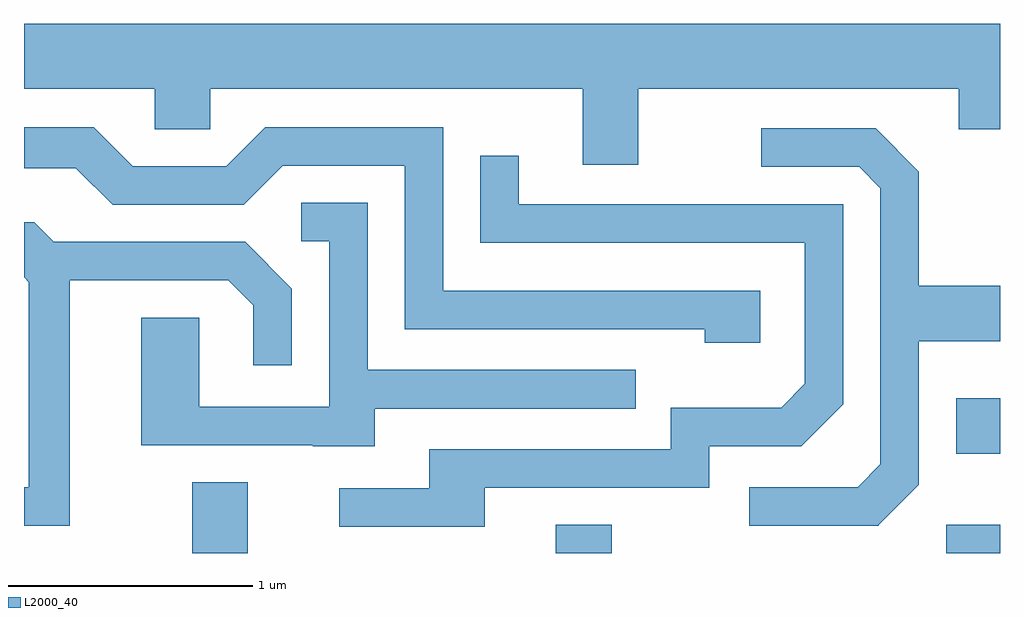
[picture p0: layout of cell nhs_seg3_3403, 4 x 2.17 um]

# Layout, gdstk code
import gdstk
lib = gdstk.Library(unit=1e-6, precision=1e-09)
def R(c, l, rs):  # rectangles x0, y0, x1, y1
    for r in rs: c.add(gdstk.rectangle(r[:2], r[2:], *l))
def P(c, l, *ps):  # polygons
    for p in ps: c.add(gdstk.Polygon(p, *l))
L2000_40 = (2000, 40)

nhs_seg3_3403 = lib.new_cell('nhs_seg3_3403')
R(nhs_seg3_3403, L2000_40, [(286.301,1121.892,286.529,1122.184), (287.791,1121.892,288.019,1122.009), (289.391,1121.892,289.611,1122.009), (289.431,1122.301,289.611,1122.529)])
P(nhs_seg3_3403, L2000_40, [(288.129,1123.796),(289.441,1123.796),(289.441,1123.631),(289.611,1123.631),(289.611,1124.064),(285.611,1124.064),(285.611,1123.796),(286.146,1123.796),(286.146,1123.631),(286.374,1123.631),(286.374,1123.796),(287.901,1123.796),(287.901,1123.486),(288.129,1123.486)],
  [(288.629,1122.969),(287.329,1122.969),(287.329,1123.639),(286.599,1123.639),(286.439,1123.479),(286.057,1123.479),(285.897,1123.639),(285.611,1123.639),(285.611,1123.471),(285.824,1123.471),(285.974,1123.321),(286.512,1123.321),(286.672,1123.481),(287.171,1123.481),(287.171,1122.811),(288.401,1122.811),(288.401,1122.756),(288.629,1122.756)],
  [(289.118,1122.013),(289.279,1122.174),(289.279,1122.761),(289.611,1122.761),(289.611,1122.989),(289.279,1122.989),(289.279,1123.457),(289.102,1123.634),(288.633,1123.634),(288.633,1123.476),(289.034,1123.476),(289.121,1123.389),(289.121,1122.257),(289.029,1122.164),(288.583,1122.164),(288.583,1122.006),(289.112,1122.006)],
  [(287.499,1122.161),(288.419,1122.161),(288.419,1122.331),(288.797,1122.331),(288.969,1122.504),(288.969,1123.324),(287.639,1123.324),(287.639,1123.523),(287.481,1123.523),(287.481,1123.166),(288.811,1123.166),(288.811,1122.587),(288.714,1122.489),(288.261,1122.489),(288.261,1122.319),(287.271,1122.319),(287.271,1122.159),(286.903,1122.159),(286.903,1122.001),(287.499,1122.001)],
  [(287.049,1122.486),(288.118,1122.486),(288.118,1122.644),(287.019,1122.644),(287.019,1123.329),(286.748,1123.329),(286.748,1123.171),(286.861,1123.171),(286.861,1122.494),(286.329,1122.494),(286.329,1122.859),(286.091,1122.859),(286.091,1122.336),(286.795,1122.336),(286.795,1122.331),(287.049,1122.331)],
  [(285.799,1123.011),(286.449,1123.011),(286.551,1122.909),(286.551,1122.663),(286.709,1122.663),(286.709,1122.977),(286.517,1123.169),(285.732,1123.169),(285.652,1123.249),(285.611,1123.249),(285.611,1123.024),(285.631,1123.004),(285.631,1122.164),(285.611,1122.164),(285.611,1122.006),(285.799,1122.006)])

lib.write_gds('nhs_seg3_3403.gds')
